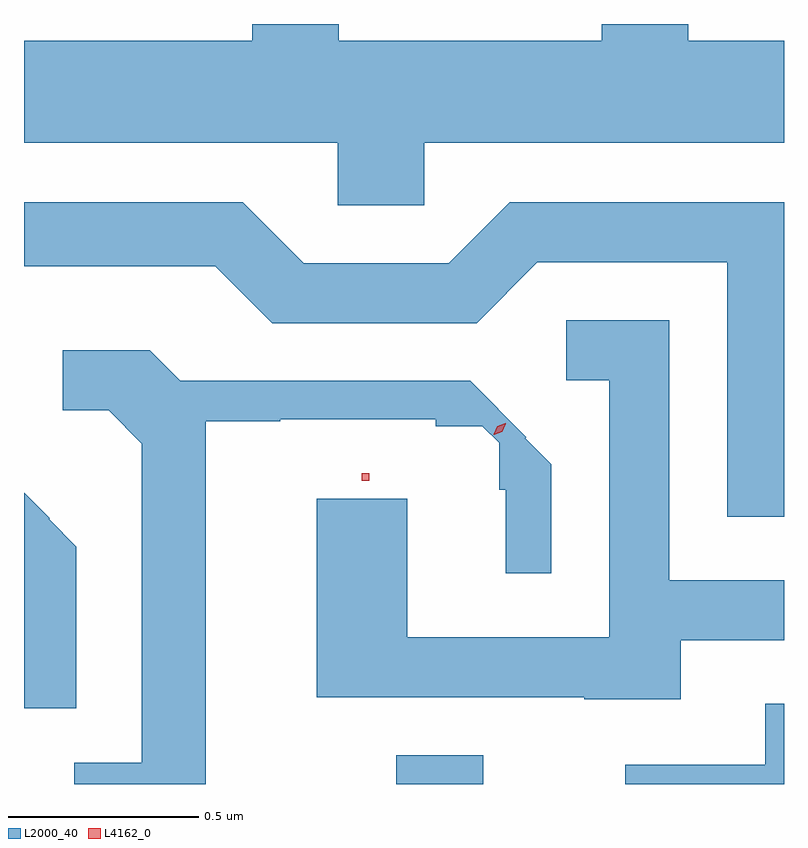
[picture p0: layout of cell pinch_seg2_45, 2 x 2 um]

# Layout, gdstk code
import gdstk
lib = gdstk.Library(unit=1e-6, precision=1e-09)
def R(c, l, rs):  # rectangles x0, y0, x1, y1
    for r in rs: c.add(gdstk.rectangle(r[:2], r[2:], *l))
def P(c, l, *ps):  # polygons
    for p in ps: c.add(gdstk.Polygon(p, *l))
L2000_40 = (2000, 40)
L4162_0 = (4162, 0)

pinch_seg2_45 = lib.new_cell('pinch_seg2_45')
R(pinch_seg2_45, L2000_40, [(1223.141,1095.468,1223.369,1095.544)])
P(pinch_seg2_45, L2000_40, [(1223.214,1097.156),(1224.161,1097.156),(1224.161,1097.424),(1223.909,1097.424),(1223.909,1097.468),(1223.681,1097.468),(1223.681,1097.424),(1222.989,1097.424),(1222.989,1097.468),(1222.761,1097.468),(1222.761,1097.424),(1222.161,1097.424),(1222.161,1097.156),(1222.986,1097.156),(1222.986,1096.991),(1223.214,1096.991)],
  [(1224.161,1096.999),(1223.439,1096.999),(1223.279,1096.839),(1222.897,1096.839),(1222.737,1096.999),(1222.161,1096.999),(1222.161,1096.831),(1222.664,1096.831),(1222.814,1096.681),(1223.352,1096.681),(1223.512,1096.841),(1224.011,1096.841),(1224.011,1096.171),(1224.161,1096.171)],
  [(1223.889,1095.846),(1224.161,1095.846),(1224.161,1096.004),(1223.859,1096.004),(1223.859,1096.689),(1223.588,1096.689),(1223.588,1096.531),(1223.701,1096.531),(1223.701,1095.854),(1223.169,1095.854),(1223.169,1096.219),(1222.931,1096.219),(1222.931,1095.696),(1223.635,1095.696),(1223.635,1095.691),(1223.889,1095.691)],
  [(1222.639,1096.423),(1222.835,1096.423),(1222.835,1096.428),(1223.244,1096.428),(1223.244,1096.41),(1223.367,1096.41),(1223.411,1096.366),(1223.411,1096.243),(1223.429,1096.243),(1223.429,1096.023),(1223.549,1096.023),(1223.549,1096.309),(1223.48,1096.378),(1223.483,1096.381),(1223.335,1096.529),(1222.572,1096.529),(1222.492,1096.609),(1222.263,1096.609),(1222.263,1096.451),(1222.384,1096.451),(1222.471,1096.364),(1222.471,1095.524),(1222.293,1095.524),(1222.293,1095.468),(1222.639,1095.468)],
  [(1222.299,1096.093),(1222.227,1096.165),(1222.229,1096.167),(1222.161,1096.235),(1222.161,1095.668),(1222.299,1095.668)],
  [(1224.161,1095.679),(1224.111,1095.679),(1224.111,1095.519),(1223.743,1095.519),(1223.743,1095.468),(1224.161,1095.468)])
R(pinch_seg2_45, L4162_0, [(1223.05,1096.266,1223.07,1096.286)])
P(pinch_seg2_45, L4162_0, [(1223.397,1096.387),(1223.397,1096.388),(1223.406,1096.409),(1223.428,1096.417),(1223.429,1096.417),(1223.429,1096.416),(1223.42,1096.395),(1223.398,1096.387)])

lib.write_gds('pinch_seg2_45.gds')
